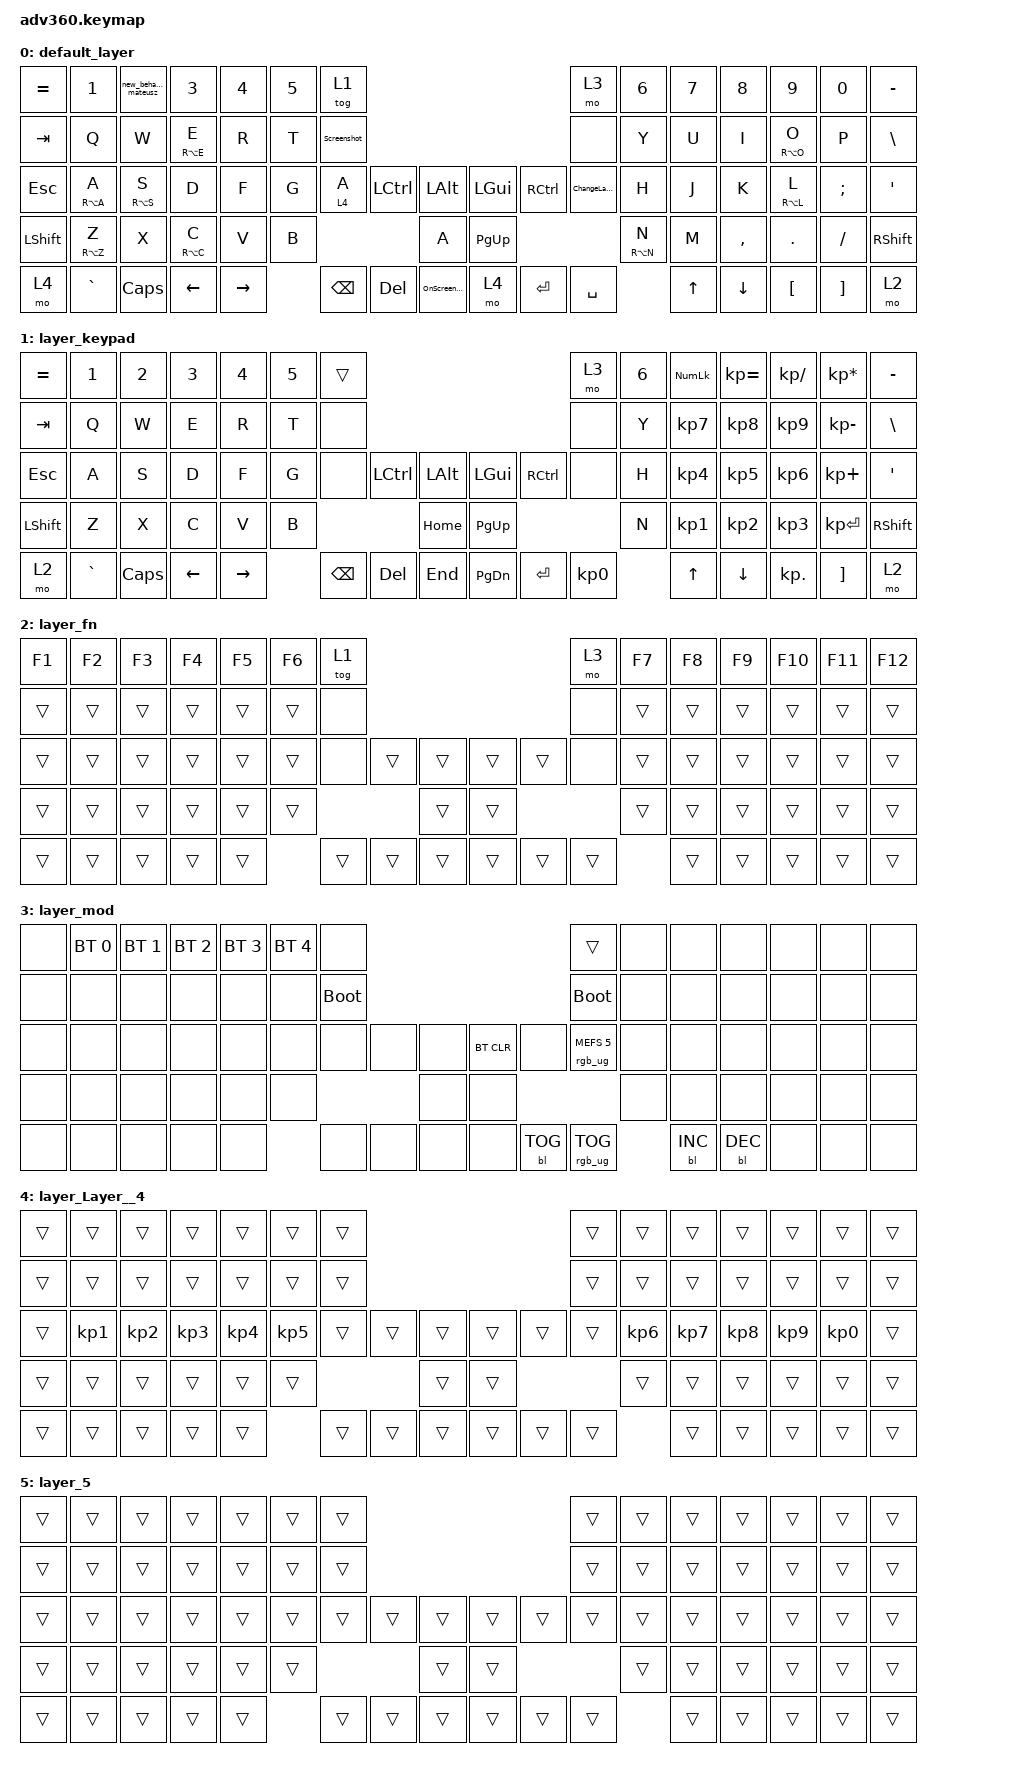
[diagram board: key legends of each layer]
/*
 * Copyright (c) 2020 The ZMK Contributors
 *
 * SPDX-License-Identifier: MIT
 */
/* THIS FILE WAS GENERATED!
 *
 * This file was generated automatically. You may or may not want to
 * edit it directly.
 */

#include <behaviors.dtsi>
#include <dt-bindings/zmk/backlight.h>
#include <dt-bindings/zmk/bt.h>
#include <dt-bindings/zmk/keys.h>
#include <dt-bindings/zmk/rgb.h>

/ {
    behaviors {
        #include "macros.dtsi"
    #include "version.dtsi"

        hm: homerow_mods {
            compatible = "zmk,behavior-hold-tap";
            label = "HOMEROW_MODS";
            #binding-cells = <2>;
            tapping-term-ms = <200>;
            quick_tap_ms = <175>;
            flavor = "tap-preferred";
            bindings = <&kp>, <&kp>;
        };

        new_behavior_mateusz: new_behavior_mateusz {
            compatible = "zmk,behavior-tap-dance";
            label = "NEW_BEHAVIOR_MATEUSZ";
            #binding-cells = <0>;
            bindings = <&mt A C>, <&kp A>, <&kp T>;
        };
    };

    macros {
        SpeechToText: SpeechToText {
            compatible = "zmk,behavior-macro";
            #binding-cells = <0>;
            bindings = <&sk LEFT_WIN &kp H>;
            label = "SPEECHTOTEXT";
        };

        OnScreenKeyboard: OnScreenKeyboard {
            compatible = "zmk,behavior-macro";
            #binding-cells = <0>;
            bindings =
                <&macro_press>,
                <&kp LEFT_CONTROL &kp LEFT_WIN &kp O>,
                <&macro_release>,
                <&kp LEFT_CONTROL &kp LEFT_WIN &kp O>;

            label = "ONSCREENKEYBOARD";
        };

        taskview: taskview {
            compatible = "zmk,behavior-macro";
            #binding-cells = <0>;
            bindings = <&sk LEFT_WIN &kp TAB>;
            label = "TASKVIEW";
        };

        Screenshot: Screenshot {
            compatible = "zmk,behavior-macro";
            #binding-cells = <0>;
            bindings =
                <&macro_press>,
                <&kp LEFT_WIN &kp LEFT_SHIFT &kp S>,
                <&macro_release>,
                <&kp LEFT_WIN &kp LEFT_SHIFT &kp S>;

            label = "SCREENSHOT";
        };

        ChangeLanguage: ChangeLanguage {
            compatible = "zmk,behavior-macro";
            #binding-cells = <0>;
            bindings = <&none>;
            label = "CHANGELANGUAGE";
        };
    };

    combos {
        compatible = "zmk,combos";

        sticky.layer.4 {
            bindings = <&SpeechToText>;
            key-positions = <32 31>;
        };
    };

    keymap {
        compatible = "zmk,keymap";

        default_layer {
            bindings = <
&kp EQUAL  &kp N1       &new_behavior_mateusz  &kp N3       &kp N4     &kp N5  &tog 1                                                               &mo 3            &kp N6       &kp N7  &kp N8     &kp N9       &kp N0    &kp MINUS
&kp TAB    &kp Q        &kp W                  &mt RA(E) E  &kp R      &kp T   &Screenshot                                                          &none            &kp Y        &kp U   &kp I      &mt RA(O) O  &kp P     &kp BSLH
&kp ESC    &mt RA(A) A  &mt RA(S) S            &kp D        &kp F      &kp G   &lt 4 A      &kp LCTRL  &kp LALT               &kp LGUI   &kp RCTRL  &ChangeLanguage  &kp H        &kp J   &kp K      &mt RA(L) L  &kp SEMI  &kp SQT
&kp LSHFT  &mt RA(Z) Z  &kp X                  &mt RA(C) C  &kp V      &kp B                           &kp A                  &kp PG_UP                              &mt RA(N) N  &kp M   &kp COMMA  &kp DOT      &kp FSLH  &kp RSHFT
&mo 4      &kp GRAVE    &kp CAPS               &kp LEFT     &kp RIGHT          &kp BSPC     &kp DEL    &OnScreenKeyboard      &mo 4      &kp ENTER  &kp SPACE                     &kp UP  &kp DOWN   &kp LBKT     &kp RBKT  &mo 2
            >;
        };

        layer_keypad {
            bindings = <
&kp EQUAL  &kp N1     &kp N2    &kp N3    &kp N4     &kp N5  &trans                                                   &mo 3      &kp N6  &kp KP_NUM  &kp KP_EQUAL  &kp KP_DIVIDE  &kp KP_MULTIPLY  &kp MINUS
&kp TAB    &kp Q      &kp W     &kp E     &kp R      &kp T   &none                                                    &none      &kp Y   &kp KP_N7   &kp KP_N8     &kp KP_N9      &kp KP_MINUS     &kp BSLH
&kp ESC    &kp A      &kp S     &kp D     &kp F      &kp G   &none     &kp LCTRL  &kp LALT      &kp LGUI   &kp RCTRL  &none      &kp H   &kp KP_N4   &kp KP_N5     &kp KP_N6      &kp KP_PLUS      &kp SQT
&kp LSHFT  &kp Z      &kp X     &kp C     &kp V      &kp B                        &kp HOME      &kp PG_UP                        &kp N   &kp KP_N1   &kp KP_N2     &kp KP_N3      &kp KP_ENTER     &kp RSHFT
&mo 2      &kp GRAVE  &kp CAPS  &kp LEFT  &kp RIGHT          &kp BSPC  &kp DEL    &kp END       &kp PG_DN  &kp ENTER  &kp KP_N0          &kp UP      &kp DOWN      &kp KP_DOT     &kp RBKT         &mo 2
            >;
        };

        layer_fn {
            bindings = <
&kp F1  &kp F2  &kp F3  &kp F4  &kp F5  &kp F6  &tog 1                                      &mo 3   &kp F7  &kp F8  &kp F9  &kp F10  &kp F11  &kp F12
&trans  &trans  &trans  &trans  &trans  &trans  &none                                       &none   &trans  &trans  &trans  &trans   &trans   &trans
&trans  &trans  &trans  &trans  &trans  &trans  &none   &trans  &trans      &trans  &trans  &none   &trans  &trans  &trans  &trans   &trans   &trans
&trans  &trans  &trans  &trans  &trans  &trans                  &trans      &trans                  &trans  &trans  &trans  &trans   &trans   &trans
&trans  &trans  &trans  &trans  &trans          &trans  &trans  &trans      &trans  &trans  &trans          &trans  &trans  &trans   &trans   &trans
            >;
        };

        layer_mod {
            bindings = <
&none  &bt BT_SEL 0  &bt BT_SEL 1  &bt BT_SEL 2  &bt BT_SEL 3  &bt BT_SEL 4  &none                                                  &trans                  &none  &none       &none       &none  &none  &none
&none  &none         &none         &none         &none         &none         &bootloader                                            &bootloader             &none  &none       &none       &none  &none  &none
&none  &none         &none         &none         &none         &none         &none        &none  &none      &bt BT_CLR  &none       &rgb_ug RGB_MEFS_CMD 5  &none  &none       &none       &none  &none  &none
&none  &none         &none         &none         &none         &none                             &none      &none                                           &none  &none       &none       &none  &none  &none
&none  &none         &none         &none         &none                       &none        &none  &none      &none       &bl BL_TOG  &rgb_ug RGB_TOG                &bl BL_INC  &bl BL_DEC  &none  &none  &none
            >;
        };

        layer_Layer__4 {
            bindings = <
&trans  &trans           &trans           &trans           &trans           &trans           &trans                                      &trans  &trans           &trans           &trans           &trans           &trans           &trans
&trans  &trans           &trans           &trans           &trans           &trans           &trans                                      &trans  &trans           &trans           &trans           &trans           &trans           &trans
&trans  &kp KP_NUMBER_1  &kp KP_NUMBER_2  &kp KP_NUMBER_3  &kp KP_NUMBER_4  &kp KP_NUMBER_5  &trans  &trans  &trans      &trans  &trans  &trans  &kp KP_NUMBER_6  &kp KP_NUMBER_7  &kp KP_NUMBER_8  &kp KP_NUMBER_9  &kp KP_NUMBER_0  &trans
&trans  &trans           &trans           &trans           &trans           &trans                           &trans      &trans                  &trans           &trans           &trans           &trans           &trans           &trans
&trans  &trans           &trans           &trans           &trans                            &trans  &trans  &trans      &trans  &trans  &trans                   &trans           &trans           &trans           &trans           &trans
            >;
        };

        layer_5 {
            bindings = <
&trans  &trans  &trans  &trans  &trans  &trans  &trans                                      &trans  &trans  &trans  &trans  &trans  &trans  &trans
&trans  &trans  &trans  &trans  &trans  &trans  &trans                                      &trans  &trans  &trans  &trans  &trans  &trans  &trans
&trans  &trans  &trans  &trans  &trans  &trans  &trans  &trans  &trans      &trans  &trans  &trans  &trans  &trans  &trans  &trans  &trans  &trans
&trans  &trans  &trans  &trans  &trans  &trans                  &trans      &trans                  &trans  &trans  &trans  &trans  &trans  &trans
&trans  &trans  &trans  &trans  &trans          &trans  &trans  &trans      &trans  &trans  &trans          &trans  &trans  &trans  &trans  &trans
            >;
        };
    };
};
